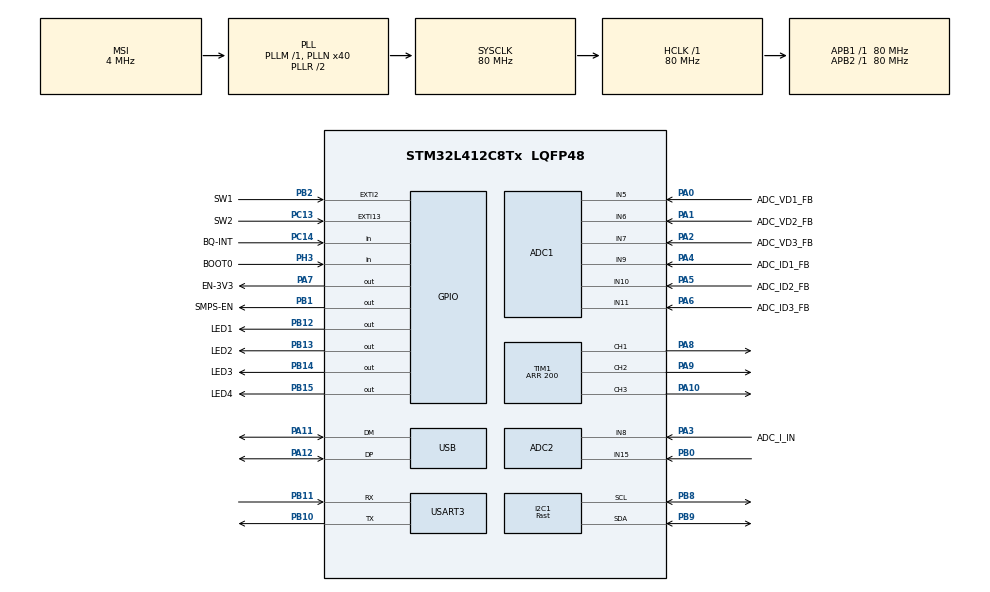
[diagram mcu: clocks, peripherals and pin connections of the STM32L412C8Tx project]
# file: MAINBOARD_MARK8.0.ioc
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ADC1.Channel-0\#ChannelRegularConversion=ADC_CHANNEL_5
ADC1.Channel-1\#ChannelRegularConversion=ADC_CHANNEL_6
ADC1.Channel-2\#ChannelRegularConversion=ADC_CHANNEL_7
ADC1.Channel-6\#ChannelRegularConversion=ADC_CHANNEL_9
ADC1.Channel-7\#ChannelRegularConversion=ADC_CHANNEL_10
ADC1.Channel-8\#ChannelRegularConversion=ADC_CHANNEL_11
ADC1.ClockPrescaler=ADC_CLOCK_ASYNC_DIV4
ADC1.ContinuousConvMode=ENABLE
ADC1.DMAContinuousRequests=ENABLE
ADC1.NbrOfConversion=6
ADC1.NbrOfConversionFlag=1
ADC1.OffsetNumber-0\#ChannelRegularConversion=ADC_OFFSET_NONE
ADC1.OffsetNumber-1\#ChannelRegularConversion=ADC_OFFSET_NONE
ADC1.OffsetNumber-2\#ChannelRegularConversion=ADC_OFFSET_NONE
ADC1.OffsetNumber-6\#ChannelRegularConversion=ADC_OFFSET_NONE
ADC1.OffsetNumber-7\#ChannelRegularConversion=ADC_OFFSET_NONE
ADC1.OffsetNumber-8\#ChannelRegularConversion=ADC_OFFSET_NONE
ADC1.OversamplingMode=ENABLE
ADC1.OversamplingStopReset=ADC_REGOVERSAMPLING_CONTINUED_MODE
ADC1.Rank-0\#ChannelRegularConversion=1
ADC1.Rank-1\#ChannelRegularConversion=2
ADC1.Rank-2\#ChannelRegularConversion=3
ADC1.Rank-6\#ChannelRegularConversion=4
ADC1.Rank-7\#ChannelRegularConversion=5
ADC1.Rank-8\#ChannelRegularConversion=6
ADC1.Ratio=ADC_OVERSAMPLING_RATIO_4
ADC1.RightBitShift=ADC_RIGHTBITSHIFT_NONE
ADC1.SamplingTime-0\#ChannelRegularConversion=ADC_SAMPLETIME_247CYCLES_5
ADC1.SamplingTime-1\#ChannelRegularConversion=ADC_SAMPLETIME_247CYCLES_5
ADC1.SamplingTime-2\#ChannelRegularConversion=ADC_SAMPLETIME_247CYCLES_5
ADC1.SamplingTime-6\#ChannelRegularConversion=ADC_SAMPLETIME_92CYCLES_5
ADC1.SamplingTime-7\#ChannelRegularConversion=ADC_SAMPLETIME_92CYCLES_5
ADC1.SamplingTime-8\#ChannelRegularConversion=ADC_SAMPLETIME_92CYCLES_5
ADC1.master=1
ADC2.Channel-0\#ChannelRegularConversion=ADC_CHANNEL_8
ADC2.Channel-1\#ChannelRegularConversion=ADC_CHANNEL_15
ADC2.ClockPrescaler=ADC_CLOCK_ASYNC_DIV4
ADC2.ContinuousConvMode=ENABLE
ADC2.DMAContinuousRequests=ENABLE
ADC2.EnableAnalogWatchDog1=false
ADC2.EnableAnalogWatchDog3=false
ADC2.NbrOfConversion=2
ADC2.NbrOfConversionFlag=1
ADC2.OffsetNumber-0\#ChannelRegularConversion=ADC_OFFSET_NONE
ADC2.OffsetNumber-1\#ChannelRegularConversion=ADC_OFFSET_NONE
ADC2.OversamplingMode=ENABLE
ADC2.Rank-0\#ChannelRegularConversion=1
ADC2.Rank-1\#ChannelRegularConversion=2
ADC2.Ratio=ADC_OVERSAMPLING_RATIO_16
ADC2.RightBitShift=ADC_RIGHTBITSHIFT_NONE
ADC2.SamplingTime-0\#ChannelRegularConversion=ADC_SAMPLETIME_12CYCLES_5
ADC2.SamplingTime-1\#ChannelRegularConversion=ADC_SAMPLETIME_12CYCLES_5
Dma.ADC1.1.Direction=DMA_PERIPH_TO_MEMORY
Dma.ADC1.1.Instance=DMA1_Channel1
Dma.ADC1.1.MemDataAlignment=DMA_MDATAALIGN_WORD
Dma.ADC1.1.MemInc=DMA_MINC_ENABLE
Dma.ADC1.1.Mode=DMA_CIRCULAR
Dma.ADC1.1.PeriphDataAlignment=DMA_PDATAALIGN_WORD
Dma.ADC1.1.PeriphInc=DMA_PINC_DISABLE
Dma.ADC1.1.Priority=DMA_PRIORITY_LOW
Dma.ADC2.0.Direction=DMA_PERIPH_TO_MEMORY
Dma.ADC2.0.Instance=DMA2_Channel4
Dma.ADC2.0.MemDataAlignment=DMA_MDATAALIGN_WORD
Dma.ADC2.0.MemInc=DMA_MINC_ENABLE
Dma.ADC2.0.Mode=DMA_CIRCULAR
Dma.ADC2.0.PeriphDataAlignment=DMA_PDATAALIGN_WORD
Dma.ADC2.0.PeriphInc=DMA_PINC_DISABLE
Dma.ADC2.0.Priority=DMA_PRIORITY_LOW
Dma.Request0=ADC2
Dma.Request1=ADC1
Dma.Request2=USART3_RX
Dma.USART3_RX.2.Direction=DMA_PERIPH_TO_MEMORY
Dma.USART3_RX.2.Instance=DMA1_Channel3
Dma.USART3_RX.2.MemDataAlignment=DMA_MDATAALIGN_BYTE
Dma.USART3_RX.2.MemInc=DMA_MINC_ENABLE
Dma.USART3_RX.2.Mode=DMA_CIRCULAR
Dma.USART3_RX.2.PeriphDataAlignment=DMA_PDATAALIGN_BYTE
Dma.USART3_RX.2.PeriphInc=DMA_PINC_DISABLE
Dma.USART3_RX.2.Priority=DMA_PRIORITY_MEDIUM
FREERTOS.BinarySemaphores01=xButtonSemaphore,Static,xButtonSemaphoreControlBlock
FREERTOS.HEAP_NUMBER=4
FREERTOS.MEMORY_ALLOCATION=2
FREERTOS.Tasks01=defaultTask,-3,64,StartDefaultTask,Default,NULL,Static,defaultTaskBuffer,defaultTaskControlBlock
FREERTOS.configENABLE_FPU=1
FREERTOS.configMINIMAL_STACK_SIZE=64
FREERTOS.configTOTAL_HEAP_SIZE=1000
I2C1.Analog_Filter=I2C_ANALOGFILTER_ENABLE
I2C1.I2C_Speed_Mode=I2C_Fast
I2C1.Timing=0x00702991
IWDG.Prescaler=IWDG_PRESCALER_4
Mcu.Family=STM32L4
Mcu.Name=STM32L412C8Tx
Mcu.Package=LQFP48
NVIC.DMA1_Channel1_IRQn=true\:5\:0\:false\:false\:true\:true\:false\:true
NVIC.DMA1_Channel3_IRQn=true\:5\:0\:false\:false\:true\:true\:false\:true
NVIC.DMA2_Channel4_IRQn=true\:5\:0\:false\:false\:true\:true\:false\:true
NVIC.EXTI15_10_IRQn=true\:5\:0\:false\:false\:true\:true\:true\:true
NVIC.EXTI2_IRQn=true\:5\:0\:false\:false\:true\:true\:true\:true
NVIC.PriorityGroup=NVIC_PRIORITYGROUP_4
NVIC.TIM1_UP_TIM16_IRQn=true\:0\:0\:false\:false\:true\:false\:false\:true
NVIC.TimeBase=TIM1_UP_TIM16_IRQn
NVIC.TimeBaseIP=TIM16
NVIC.USART3_IRQn=true\:5\:0\:false\:false\:true\:true\:true\:true
NVIC.USB_IRQn=true\:5\:0\:false\:false\:true\:true\:false\:true
PA0.GPIO_Label=ADC_VD1_FB
PA0.Signal=ADCx_IN5
PA1.GPIO_Label=ADC_VD2_FB
PA1.Signal=ADCx_IN6
PA10.Signal=S_TIM1_CH3
PA11.Mode=Device
PA11.Signal=USB_DM
PA12.Mode=Device
PA12.Signal=USB_DP
PA13\ (JTMS/SWDIO).Mode=Serial_Wire
PA13\ (JTMS/SWDIO).Signal=SYS_JTMS-SWDIO
PA14\ (JTCK/SWCLK).Mode=Serial_Wire
PA14\ (JTCK/SWCLK).Signal=SYS_JTCK-SWCLK
PA2.GPIO_Label=ADC_VD3_FB
PA2.Signal=ADCx_IN7
PA3.GPIO_Label=ADC_I_IN
PA3.Signal=ADCx_IN8
PA4.GPIO_Label=ADC_ID1_FB
PA4.Signal=ADCx_IN9
PA5.GPIO_Label=ADC_ID2_FB
PA5.Signal=ADCx_IN10
PA6.GPIO_Label=ADC_ID3_FB
PA6.Signal=ADCx_IN11
PA7.GPIO_Label=EN-3V3
PA7.Signal=GPIO_Output
PA8.Signal=S_TIM1_CH1
PA9.Signal=S_TIM1_CH2
PB0.Signal=ADCx_IN15
PB1.GPIO_Label=SMPS-EN
PB1.GPIO_ModeDefaultOutputPP=GPIO_MODE_OUTPUT_OD
PB1.GPIO_PuPd=GPIO_PULLUP
PB1.Signal=GPIO_Output
PB10.Mode=Asynchronous
PB10.Signal=USART3_TX
PB11.Mode=Asynchronous
PB11.Signal=USART3_RX
PB12.GPIO_Label=LED1
PB12.Signal=GPIO_Output
PB13.GPIO_Label=LED2
PB13.Signal=GPIO_Output
PB14.GPIO_Label=LED3
PB14.Signal=GPIO_Output
PB15.GPIO_Label=LED4
PB15.Signal=GPIO_Output
PB2.GPIO_Label=SW1
PB2.GPIO_ModeDefaultEXTI=GPIO_MODE_IT_FALLING
PB2.GPIO_PuPd=GPIO_PULLUP
PB2.Signal=GPXTI2
PB8.GPIO_Pu=GPIO_PULLUP
PB8.Mode=I2C
PB8.Signal=I2C1_SCL
PB9.GPIO_Pu=GPIO_PULLUP
PB9.Mode=I2C
PB9.Signal=I2C1_SDA
PC13.GPIO_Label=SW2
PC13.GPIO_ModeDefaultEXTI=GPIO_MODE_IT_FALLING
PC13.GPIO_PuPd=GPIO_PULLUP
PC13.Signal=GPXTI13
PC14-OSC32_IN\ (PC14).GPIO_Label=BQ-INT
PC14-OSC32_IN\ (PC14).Signal=GPIO_Input
PH3-BOOT0\ (BOOT0).GPIO_Label=BOOT0
PH3-BOOT0\ (BOOT0).Signal=GPIO_Input
ProjectManager.HeapSize=0x200
ProjectManager.StackSize=0x400
ProjectManager.TargetToolchain=STM32CubeIDE
RCC.ADCFreq_Value=80000000
RCC.AHBFreq_Value=80000000
RCC.APB1Freq_Value=80000000
RCC.APB1TimFreq_Value=80000000
RCC.APB2Freq_Value=80000000
RCC.APB2TimFreq_Value=80000000
RCC.CK48CLockSelection=RCC_USBCLKSOURCE_HSI48
RCC.CortexFreq_Value=80000000
RCC.HCLKFreq_Value=80000000
RCC.HSE_VALUE=8000000
RCC.HSI48_VALUE=48000000
RCC.HSI_VALUE=16000000
RCC.LSE_VALUE=32768
RCC.MSI_VALUE=4000000
RCC.PLLN=40
RCC.SYSCLKFreq_VALUE=80000000
RCC.SYSCLKSource=RCC_SYSCLKSOURCE_PLLCLK
RCC.USBFreq_Value=48000000
RCC.VCOOutputFreq_Value=160000000
SH.ADCx_IN10.0=ADC1_IN10,IN10-Single-Ended
SH.ADCx_IN11.0=ADC1_IN11,IN11-Single-Ended
SH.ADCx_IN15.0=ADC2_IN15,IN15-Single-Ended
SH.ADCx_IN5.0=ADC1_IN5,IN5-Single-Ended
SH.ADCx_IN6.0=ADC1_IN6,IN6-Single-Ended
SH.ADCx_IN7.0=ADC1_IN7,IN7-Single-Ended
SH.ADCx_IN8.0=ADC2_IN8,IN8-Single-Ended
SH.ADCx_IN9.0=ADC1_IN9,IN9-Single-Ended
SH.S_TIM1_CH1.0=TIM1_CH1,PWM Generation1 CH1
SH.S_TIM1_CH2.0=TIM1_CH2,PWM Generation2 CH2
SH.S_TIM1_CH3.0=TIM1_CH3,PWM Generation3 CH3
TIM1.Channel-PWM\ Generation1\ CH1=TIM_CHANNEL_1
TIM1.Channel-PWM\ Generation2\ CH2=TIM_CHANNEL_2
TIM1.Channel-PWM\ Generation3\ CH3=TIM_CHANNEL_3
TIM1.Period=200
TIM1.Pulse-PWM\ Generation2\ CH2=0
USART3.VirtualMode-Asynchronous=VM_ASYNC
USB_DEVICE.CLASS_NAME_FS=CDC
USB_DEVICE.VirtualMode=Cdc
USB_DEVICE.VirtualModeFS=Cdc_FS
VP_FREERTOS_VS_CMSIS_V1.Mode=CMSIS_V1
VP_IWDG_VS_IWDG.Mode=IWDG_Activate
VP_SYS_VS_tim16.Mode=TIM16
VP_USB_DEVICE_VS_USB_DEVICE_CDC_FS.Mode=CDC_FS
board=custom

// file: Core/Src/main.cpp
/* USER CODE BEGIN Header */
/**
 ******************************************************************************
 * @file           : main.c
 * @brief          : Main program body
 ******************************************************************************
 * @attention
 *
 * <h2><center>&copy; Copyright (c) 2020 STMicroelectronics.
 * All rights reserved.</center></h2>
 *
 * This software component is licensed by ST under BSD 3-Clause license,
 * the "License"; You may not use this file except in compliance with the
 * License. You may obtain a copy of the License at:
 *                        opensource.org/licenses/BSD-3-Clause
 *
 ******************************************************************************
 */
/* USER CODE END Header */
#include "main.h"
#include "cmsis_os.h"
#include "adc.h"
#include "dma.h"
#include "i2c.h"
#include "iwdg.h"
#include "tim.h"
#include "usart.h"
#include "usb_device.h"
#include "gpio.h"

/* USER CODE BEGIN Includes */
#include "usbd_cdc_if.h"
#include "freertos.c"
#include <IMU_Gesture_Task.hpp>
#include <LED_Driver_Task.hpp>
#include <Main_Control_Task.hpp>
#include <User_Buttons_Task.hpp>
#include <SoC_Estimation_Task.hpp>
/* USER CODE END Includes */

void SystemClock_Config(void);
void MX_FREERTOS_Init(void);
/* USER CODE BEGIN PFP */

void Custom_FREERTOS_Init(void);
void Custom_MainBoard_abstraction_init(void);
/* USER CODE END PFP */

/* USER CODE BEGIN 0 */

/* To end at the end of main.cpp */
#pragma GCC diagnostic push
/* To suppress RCC Oscillators Init code -> CUBE-MX */
#pragma GCC diagnostic ignored "-Wmissing-field-initializers"
/* To suppress osThreadStaticDef / osThreadDef expansion */
#pragma GCC diagnostic ignored "-Wwrite-strings"

/* USER CODE END 0 */

int main(void)
{

	/* MCU Configuration--------------------------------------------------------*/

	/* Reset of all peripherals, Initializes the Flash interface and the Systick. */
	HAL_Init();

	/* Configure the system clock */
	SystemClock_Config();

	/* Initialize all configured peripherals */
	MX_GPIO_Init();
	MX_DMA_Init();
	MX_I2C1_Init();
	MX_USART3_UART_Init();
	MX_TIM1_Init();
	MX_ADC1_Init();
	MX_ADC2_Init();
	MX_IWDG_Init();
	/* USER CODE BEGIN 2 */

	Custom_MainBoard_abstraction_init();

	Custom_FREERTOS_Init();

	/* USER CODE END 2 */

	/* Call init function for freertos objects (in freertos.c) */
	MX_FREERTOS_Init();
	/* Start scheduler */
	osKernelStart();

	/* We should never get here as control is now taken by the scheduler */
	/* Infinite loop */
	while (1)
	{

	}
}

void SystemClock_Config(void)
{
	RCC_OscInitTypeDef RCC_OscInitStruct = {0};
	RCC_ClkInitTypeDef RCC_ClkInitStruct = {0};

	/** Configure the main internal regulator output voltage
	 */
	if (HAL_PWREx_ControlVoltageScaling(PWR_REGULATOR_VOLTAGE_SCALE1) != HAL_OK)
	{
		Error_Handler();
	}
	/** Initializes the RCC Oscillators according to the specified parameters
	 * in the RCC_OscInitTypeDef structure.
	 */
	RCC_OscInitStruct.OscillatorType = RCC_OSCILLATORTYPE_HSI48|RCC_OSCILLATORTYPE_LSI
			|RCC_OSCILLATORTYPE_MSI;
	RCC_OscInitStruct.HSI48State = RCC_HSI48_ON;
	RCC_OscInitStruct.LSIState = RCC_LSI_ON;
	RCC_OscInitStruct.MSIState = RCC_MSI_ON;
	RCC_OscInitStruct.MSICalibrationValue = 0;
	RCC_OscInitStruct.MSIClockRange = RCC_MSIRANGE_6;
	RCC_OscInitStruct.PLL.PLLState = RCC_PLL_ON;
	RCC_OscInitStruct.PLL.PLLSource = RCC_PLLSOURCE_MSI;
	RCC_OscInitStruct.PLL.PLLM = 1;
	RCC_OscInitStruct.PLL.PLLN = 40;
	RCC_OscInitStruct.PLL.PLLQ = RCC_PLLQ_DIV2;
	RCC_OscInitStruct.PLL.PLLR = RCC_PLLR_DIV2;
	if (HAL_RCC_OscConfig(&RCC_OscInitStruct) != HAL_OK)
	{
		Error_Handler();
	}
	/** Initializes the CPU, AHB and APB buses clocks
	 */
	RCC_ClkInitStruct.ClockType = RCC_CLOCKTYPE_HCLK|RCC_CLOCKTYPE_SYSCLK
			|RCC_CLOCKTYPE_PCLK1|RCC_CLOCKTYPE_PCLK2;
	RCC_ClkInitStruct.SYSCLKSource = RCC_SYSCLKSOURCE_PLLCLK;
	RCC_ClkInitStruct.AHBCLKDivider = RCC_SYSCLK_DIV1;
	RCC_ClkInitStruct.APB1CLKDivider = RCC_HCLK_DIV1;
	RCC_ClkInitStruct.APB2CLKDivider = RCC_HCLK_DIV1;

	if (HAL_RCC_ClockConfig(&RCC_ClkInitStruct, FLASH_LATENCY_4) != HAL_OK)
	{
		Error_Handler();
	}
}

/* USER CODE BEGIN 4 */

void Custom_FREERTOS_Init(void){

	// FIXME rewrite thread def to prevent warning ISO c++ tring -> char*

	osThreadStaticDef(Main_Control, Start_Main_Control_Task, osPriorityAboveNormal, 0, Main_Control_Task_Buffer_size, Main_Control_Task_Buffer, &Main_Control_TaskControlBlock);
	Main_ControlHandle = osThreadCreate(osThread(Main_Control), NULL);

	osThreadStaticDef(LED_Driver, Start_LED_Driver_Task, osPriorityRealtime, 0, LED_Driver_Task_Buffer_size, LED_Driver_Task_Buffer, &LED_DriverControlBlock);
	LED_DriverHandle = osThreadCreate(osThread(LED_Driver), NULL);

	osThreadStaticDef(IMU_Gesture, Start_IMU_Gesture_Task, osPriorityBelowNormal, 0,IMU_Gesture_Task_Buffer_size, IMU_GestureBuffer, &IMU_GestureControlBlock);
	IMU_GestureHandle = osThreadCreate(osThread(IMU_Gesture), NULL);

	osThreadStaticDef(User_Buttons, Start_User_Buttons_Task, osPriorityNormal, 0, User_Buttons_Task_Buffer_size, User_Buttons_Task_Buffer, &User_ButtonControlBlock);
	User_ButtonsHandle = osThreadCreate(osThread(User_Buttons), NULL);

	osThreadStaticDef(SoC_Estimation, Start_SoC_Estimation_Task, osPriorityLow, 0, SoC_Estimation_Task_Buffer_size,SoC_Estimation_Buffer, &SoC_Estimation_ControlBlock);
	SoC_EstimationHandle = osThreadCreate(osThread(SoC_Estimation), NULL);

}

void Custom_MainBoard_abstraction_init(){

	//		SMPS - ON
	HAL_GPIO_WritePin(SMPS_EN_GPIO_Port, SMPS_EN_Pin, GPIO_PIN_SET);

	//		SMPS - OFF
	//HAL_GPIO_WritePin(SMPS_EN_GPIO_Port, SMPS_EN_Pin, (GPIO_PinState)0);

	/* Power-on indicator to prevent unseen reset*/
	for(int i = 0; i < 6; i++){
		HAL_GPIO_TogglePin(LED1_GPIO_Port, LED1_Pin);
		HAL_GPIO_TogglePin(LED2_GPIO_Port, LED2_Pin);
		HAL_GPIO_TogglePin(LED3_GPIO_Port, LED3_Pin);
		HAL_GPIO_TogglePin(LED4_GPIO_Port, LED4_Pin);
		HAL_Delay(100);
	}

}

#pragma GCC diagnostic pop
/* USER CODE END 4 */

void HAL_TIM_PeriodElapsedCallback(TIM_HandleTypeDef *htim)
{
	if (htim->Instance == TIM16) {
		HAL_IncTick();
	}
}

void Error_Handler(void)
{
	/* USER CODE BEGIN Error_Handler_Debug */
	HAL_GPIO_WritePin(LED1_GPIO_Port, LED1_Pin, GPIO_PIN_SET);
	HAL_GPIO_WritePin(LED2_GPIO_Port, LED2_Pin, GPIO_PIN_SET);
	HAL_GPIO_WritePin(LED3_GPIO_Port, LED3_Pin, GPIO_PIN_SET);
	HAL_GPIO_WritePin(LED4_GPIO_Port, LED4_Pin, GPIO_PIN_SET);
	/* User can add his own implementation to report the HAL error return state */
	/* USER CODE END Error_Handler_Debug */
}

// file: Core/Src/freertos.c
/* USER CODE BEGIN Header */
/**
  ******************************************************************************
  * File Name          : freertos.c
  * Description        : Code for freertos applications
  ******************************************************************************
  * @attention
  *
  * <h2><center>&copy; Copyright (c) 2021 STMicroelectronics.
  * All rights reserved.</center></h2>
  *
  * This software component is licensed by ST under Ultimate Liberty license
  * SLA0044, the "License"; You may not use this file except in compliance with
  * the License. You may obtain a copy of the License at:
  *                             www.st.com/SLA0044
  *
  ******************************************************************************
  */
/* USER CODE END Header */

#include "FreeRTOS.h"
#include "task.h"
#include "main.h"
#include "cmsis_os.h"

/* USER CODE BEGIN PD */

#define UNUSED_TASK_OS_DELAY 8000

// TODO verife heap watermark

// all sizes are in Bytes
#define Main_Control_Task_Buffer_size 256
osThreadId Main_ControlHandle;
uint32_t Main_Control_Task_Buffer[Main_Control_Task_Buffer_size];
osStaticThreadDef_t Main_Control_TaskControlBlock;

#define LED_Driver_Task_Buffer_size 256
osThreadId LED_DriverHandle;
uint32_t LED_Driver_Task_Buffer[LED_Driver_Task_Buffer_size];
osStaticThreadDef_t LED_DriverControlBlock;

#define User_Buttons_Task_Buffer_size 64
osThreadId User_ButtonsHandle;
uint32_t User_Buttons_Task_Buffer[User_Buttons_Task_Buffer_size];
osStaticThreadDef_t User_ButtonControlBlock;

#define IMU_Gesture_Task_Buffer_size 1024
osThreadId IMU_GestureHandle;
uint32_t IMU_GestureBuffer[IMU_Gesture_Task_Buffer_size];
osStaticThreadDef_t IMU_GestureControlBlock;

#define SoC_Estimation_Task_Buffer_size 256
osThreadId SoC_EstimationHandle;
uint32_t SoC_Estimation_Buffer[SoC_Estimation_Task_Buffer_size];
osStaticThreadDef_t SoC_Estimation_ControlBlock;

osMessageQId Button_state_QueueHandle;

/* USER CODE END PD */

osThreadId defaultTaskHandle;
uint32_t defaultTaskBuffer[ 64 ];
osStaticThreadDef_t defaultTaskControlBlock;
osSemaphoreId xButtonSemaphoreHandle;
osStaticSemaphoreDef_t xButtonSemaphoreControlBlock;

/* USER CODE BEGIN FunctionPrototypes */

osMessageQId Set_Current_QueueHandle;
/* USER CODE END FunctionPrototypes */

void StartDefaultTask(void const * argument);

extern void MX_USB_DEVICE_Init(void);
void MX_FREERTOS_Init(void); /* (MISRA C 2004 rule 8.1) */

/* GetIdleTaskMemory prototype (linked to static allocation support) */
void vApplicationGetIdleTaskMemory( StaticTask_t **ppxIdleTaskTCBBuffer, StackType_t **ppxIdleTaskStackBuffer, uint32_t *pulIdleTaskStackSize );

/* USER CODE BEGIN GET_IDLE_TASK_MEMORY */
static StaticTask_t xIdleTaskTCBBuffer;
static StackType_t xIdleStack[configMINIMAL_STACK_SIZE];

void vApplicationGetIdleTaskMemory( StaticTask_t **ppxIdleTaskTCBBuffer, StackType_t **ppxIdleTaskStackBuffer, uint32_t *pulIdleTaskStackSize )
{
  *ppxIdleTaskTCBBuffer = &xIdleTaskTCBBuffer;
  *ppxIdleTaskStackBuffer = &xIdleStack[0];
  *pulIdleTaskStackSize = configMINIMAL_STACK_SIZE;
  /* place for user code */
}
/* USER CODE END GET_IDLE_TASK_MEMORY */

void MX_FREERTOS_Init(void) {

  /* Create the semaphores(s) */
  /* definition and creation of xButtonSemaphore */
  osSemaphoreStaticDef(xButtonSemaphore, &xButtonSemaphoreControlBlock);
  xButtonSemaphoreHandle = osSemaphoreCreate(osSemaphore(xButtonSemaphore), 1);

  /* USER CODE BEGIN RTOS_QUEUES */
#pragma GCC diagnostic push
#pragma GCC diagnostic ignored "-Wwrite-strings"
  /* add queues, ... */
  /* USER CODE END RTOS_QUEUES */

  /* Create the thread(s) */
  /* definition and creation of defaultTask */
  osThreadStaticDef(defaultTask, StartDefaultTask, osPriorityIdle, 0, 64, defaultTaskBuffer, &defaultTaskControlBlock);
  defaultTaskHandle = osThreadCreate(osThread(defaultTask), NULL);

  /* USER CODE BEGIN RTOS_THREADS */
#pragma GCC diagnostic pop
  /* definition and creation of State_of_Charge */
  /* definition and creation of State_of_Charge */

  /* add threads, ... */
  /* USER CODE END RTOS_THREADS */

}

void StartDefaultTask(void const * argument)
{
  /* init code for USB_DEVICE */
  MX_USB_DEVICE_Init();
  /* USER CODE BEGIN StartDefaultTask */
  /* Infinite loop */
  for(;;)
  {
    osDelay(UNUSED_TASK_OS_DELAY);
  }
  /* USER CODE END StartDefaultTask */
}
